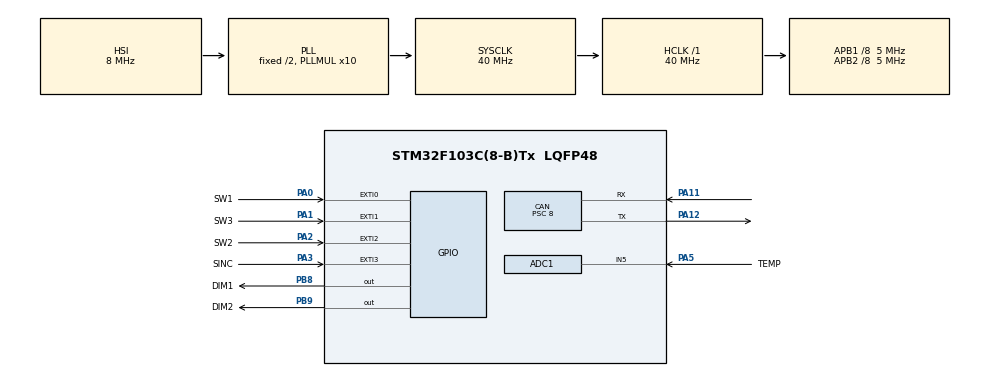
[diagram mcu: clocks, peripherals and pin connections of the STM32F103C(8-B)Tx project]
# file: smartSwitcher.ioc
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ADC1.Channel-0\#ChannelRegularConversion=ADC_CHANNEL_5
ADC1.Channel-1\#ChannelRegularConversion=ADC_CHANNEL_TEMPSENSOR
ADC1.Channel-2\#ChannelRegularConversion=ADC_CHANNEL_VREFINT
ADC1.Channel-IN=ADC_CHANNEL_VREFINT
ADC1.ContinuousConvMode=ENABLE
ADC1.DataAlign=ADC_DATAALIGN_RIGHT
ADC1.DiscontinuousConvMode=DISABLE
ADC1.EnableAnalogWatchDog=false
ADC1.ExternalTrigConv=ADC_SOFTWARE_START
ADC1.NbrOfConversion=3
ADC1.NbrOfConversionFlag=1
ADC1.Rank-1\#ChannelRegularConversion=2
ADC1.Rank-2\#ChannelRegularConversion=3
ADC1.SamplingTime-0\#ChannelRegularConversion=ADC_SAMPLETIME_239CYCLES_5
ADC1.SamplingTime-1\#ChannelRegularConversion=ADC_SAMPLETIME_239CYCLES_5
ADC1.SamplingTime-2\#ChannelRegularConversion=ADC_SAMPLETIME_239CYCLES_5
ADC1.master=1
CAN.ABOM=ENABLE
CAN.AWUM=DISABLE
CAN.BS1=CAN_BS1_3TQ
CAN.CalculateBaudRate=125000
CAN.CalculateTimeBit=8000
CAN.CalculateTimeQuantum=1600.0
CAN.Mode=CAN_MODE_NORMAL
CAN.NART=ENABLE
CAN.Prescaler=8
CAN.RFLM=DISABLE
CAN.SJW=CAN_SJW_1TQ
CAN.TTCM=DISABLE
CAN.TXFP=DISABLE
Dma.ADC1.0.Direction=DMA_PERIPH_TO_MEMORY
Dma.ADC1.0.Instance=DMA1_Channel1
Dma.ADC1.0.MemDataAlignment=DMA_MDATAALIGN_HALFWORD
Dma.ADC1.0.MemInc=DMA_MINC_ENABLE
Dma.ADC1.0.Mode=DMA_CIRCULAR
Dma.ADC1.0.PeriphDataAlignment=DMA_PDATAALIGN_HALFWORD
Dma.ADC1.0.PeriphInc=DMA_PINC_DISABLE
Dma.ADC1.0.Priority=DMA_PRIORITY_LOW
Dma.Request0=ADC1
Mcu.Family=STM32F1
Mcu.Name=STM32F103C(8-B)Tx
Mcu.Package=LQFP48
NVIC.ADC1_2_IRQn=true\:2\:0\:true\:false\:true\:true\:true\:true
NVIC.CAN1_RX1_IRQn=true\:0\:0\:false\:false\:true\:true\:true\:true
NVIC.DMA1_Channel1_IRQn=true\:2\:0\:true\:false\:true\:false\:true\:true
NVIC.PriorityGroup=NVIC_PRIORITYGROUP_4
NVIC.TIM1_BRK_IRQn=true\:0\:0\:false\:false\:true\:true\:true\:true
NVIC.TIM2_IRQn=true\:2\:0\:true\:false\:true\:true\:true\:true
NVIC.TIM3_IRQn=true\:1\:0\:true\:false\:true\:true\:true\:true
NVIC.TIM4_IRQn=true\:1\:0\:true\:false\:true\:true\:true\:true
PA0-WKUP.GPIO_Label=SW1
PA0-WKUP.GPIO_ModeDefaultEXTI=GPIO_MODE_IT_RISING_FALLING
PA0-WKUP.GPIO_PuPd=GPIO_PULLUP
PA0-WKUP.Signal=GPXTI0
PA1.GPIO_Label=SW3
PA1.GPIO_ModeDefaultEXTI=GPIO_MODE_IT_RISING_FALLING
PA1.GPIO_PuPd=GPIO_PULLUP
PA1.Signal=GPXTI1
PA11.Mode=CAN_Activate
PA11.Signal=CAN_RX
PA12.Mode=CAN_Activate
PA12.Signal=CAN_TX
PA13.Mode=Serial_Wire
PA13.Signal=SYS_JTMS-SWDIO
PA14.Mode=Serial_Wire
PA14.Signal=SYS_JTCK-SWCLK
PA2.GPIO_Label=SW2
PA2.GPIO_ModeDefaultEXTI=GPIO_MODE_IT_RISING_FALLING
PA2.GPIO_PuPd=GPIO_PULLUP
PA2.Signal=GPXTI2
PA3.GPIO_Label=SINC
PA3.Signal=GPXTI3
PA5.GPIO_Label=TEMP
PA5.Signal=ADCx_IN5
PB8.GPIO_Label=DIM1
PB8.GPIO_PuPd=GPIO_NOPULL
PB8.GPIO_Speed=GPIO_SPEED_FREQ_HIGH
PB8.PinState=GPIO_PIN_SET
PB8.Signal=GPIO_Output
PB9.GPIO_Label=DIM2
PB9.GPIO_Speed=GPIO_SPEED_FREQ_HIGH
PB9.PinState=GPIO_PIN_SET
PB9.Signal=GPIO_Output
PD0-OSC_IN.Mode=HSE-External-Oscillator
PD0-OSC_IN.Signal=RCC_OSC_IN
PD1-OSC_OUT.Mode=HSE-External-Oscillator
PD1-OSC_OUT.Signal=RCC_OSC_OUT
ProjectManager.HeapSize=0x200
ProjectManager.StackSize=0x400
ProjectManager.TargetToolchain=CMake
RCC.ADCPresc=RCC_ADCPCLK2_DIV4
RCC.AHBFreq_Value=40000000
RCC.APB1CLKDivider=RCC_HCLK_DIV8
RCC.APB1Freq_Value=5000000
RCC.APB1TimFreq_Value=10000000
RCC.APB2CLKDivider=RCC_HCLK_DIV8
RCC.APB2Freq_Value=5000000
RCC.APB2TimFreq_Value=10000000
RCC.DATA_CACHE_ENABLE=0
RCC.FLatency=FLASH_LATENCY_1
RCC.HCLKFreq_Value=40000000
RCC.INSTRUCTION_CACHE_ENABLE=0
RCC.PLLMUL=RCC_PLL_MUL10
RCC.SYSCLKFreq_VALUE=40000000
RCC.SYSCLKSource=RCC_SYSCLKSOURCE_PLLCLK
RCC.USBFreq_Value=40000000
SH.ADCx_IN5.0=ADC1_IN5,IN5
SH.ADCx_IN5.1=ADC2_IN5
TIM1.Period=39
TIM1.Prescaler=9
TIM2.AutoReloadPreload=TIM_AUTORELOAD_PRELOAD_DISABLE
TIM2.CounterMode=TIM_COUNTERMODE_UP
TIM2.Period=999
TIM2.Prescaler=9999
TIM2.TIM_MasterOutputTrigger=TIM_TRGO_RESET
TIM3.AutoReloadPreload=TIM_AUTORELOAD_PRELOAD_DISABLE
TIM3.ClockDivision=TIM_CLOCKDIVISION_DIV1
TIM3.CounterMode=TIM_COUNTERMODE_UP
TIM3.Period=999
TIM3.Prescaler=9999
TIM4.Period=3000
TIM4.Prescaler=9999
VP_ADC1_TempSens_Input.Mode=IN-TempSens
VP_ADC1_Vref_Input.Mode=IN-Vrefint
VP_TIM1_VS_ClockSourceINT.Mode=Internal
VP_TIM2_VS_ClockSourceINT.Mode=Internal
VP_TIM3_VS_ClockSourceINT.Mode=Internal
VP_TIM4_VS_ClockSourceINT.Mode=Internal
board=custom

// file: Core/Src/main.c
/* USER CODE BEGIN Header */
/**
  ******************************************************************************
  * @file           : main.c
  * @brief          : Main program body
  ******************************************************************************
  * @attention
  *
  * Copyright (c) 2025 STMicroelectronics.
  * All rights reserved.
  *
  * This software is licensed under terms that can be found in the LICENSE file
  * in the root directory of this software component.
  * If no LICENSE file comes with this software, it is provided AS-IS.
  *
  ******************************************************************************
  */
/* USER CODE END Header */
#include "main.h"
#include "adc.h"
#include "can.h"
#include "dma.h"
#include "tim.h"
#include "gpio.h"

/* USER CODE BEGIN Includes */
#include "stm32f1xx_hal.h"
#include "stm32f1xx_ll_adc.h"
#include "flash_storage.h"
#include "string.h"
/* USER CODE END Includes */

/* USER CODE BEGIN PV */

uint16_t tic = 0;
const uint16_t dimPins[] = {DIM1_Pin, DIM2_Pin};
board_t Brd;
telemetry_t BrdTel;
dimmer_t dm[2] = {
    {MAX_DIM, 10, 10,MIN_DIM, MAX_DIM}, // Диммер 1
    {MAX_DIM, 10, 10,MIN_DIM, MAX_DIM}  // Диммер 2
};
/* USER CODE END PV */

void SystemClock_Config(void);
/* USER CODE BEGIN PFP */

//-------------прерывания по изменения яркости -----------------------
void LightControlDM1() {
    if (dm[CH_DIM_1].dimmer < MIN_DIM) {
        dm[CH_DIM_1].dimmer ++;
        if (dm[CH_DIM_1].dimmer >= MIN_DIM) {
            dm[CH_DIM_1].dimmer = MIN_DIM;
            HAL_TIM_Base_Stop_IT(&htim2);
        }
    } else if (dm[CH_DIM_1].dimmer > MAX_DIM) {
        dm[CH_DIM_1].dimmer --;
        if (dm[CH_DIM_1].dimmer <= MAX_DIM) {
            dm[CH_DIM_1].dimmer = MAX_DIM;
            HAL_TIM_Base_Stop_IT(&htim2);
        }
    }
}

void LightControlDM2() {
    if (dm[CH_DIM_2].dimmer < MIN_DIM) {
        dm[CH_DIM_2].dimmer ++;
        if (dm[CH_DIM_2].dimmer >= MIN_DIM) {
            dm[CH_DIM_2].dimmer = MIN_DIM;
            HAL_TIM_Base_Stop_IT(&htim3);
        }
    } else if (dm[CH_DIM_2].dimmer > MAX_DIM) {
        dm[CH_DIM_2].dimmer --;
        if (dm[CH_DIM_2].dimmer <= MAX_DIM) {
            dm[CH_DIM_2].dimmer = MAX_DIM;
            HAL_TIM_Base_Stop_IT(&htim3);
        }
    }
}

//-------------прерывания по кнопкам----------------
void INT_SW1(){
    BrdTel.sw1 = HAL_GPIO_ReadPin(SW1_GPIO_Port, SW1_Pin);
}
void INT_SW2(){
    BrdTel.sw2 = HAL_GPIO_ReadPin(SW2_GPIO_Port, SW2_Pin);
}
void INT_SW3(){
    BrdTel.sw3 = HAL_GPIO_ReadPin(SW3_GPIO_Port, SW3_Pin);
}

//------------отправка температуры по CAN--------
void sendTempToCAN(){
  BrdTel.temp = (int16_t)(readTemperatureLM335(Adc.FadcChanal) * 10);
  uint8_t tempData[2];
  tempData[0] = (uint8_t)(BrdTel.temp & 0xFF); // Младший байт
  tempData[1] = (uint8_t)(BrdTel.temp >> 8); // Старший байт

  AddMessageToQueue(Sh_Id(CAN_ID_TEMP), tempData, 2, SEND_ONLY);
}
/* USER CODE END PFP */

int main(void)
{

  /* MCU Configuration--------------------------------------------------------*/

  /* Reset of all peripherals, Initializes the Flash interface and the Systick. */
  HAL_Init();

  /* Configure the system clock */
  SystemClock_Config();

  /* Initialize all configured peripherals */
  MX_GPIO_Init();
  MX_DMA_Init();
  MX_CAN_Init();
  MX_TIM2_Init();
  MX_ADC1_Init();
  MX_TIM1_Init();
  MX_TIM3_Init();
  MX_TIM4_Init();
  /* USER CODE BEGIN 2 */
  HAL_ADC_Start_DMA(&hadc1, (uint32_t*)Adc.adcChanal, CHANALS_ADC);
  HAL_CAN_Start(&hcan);
  HAL_TIM_IC_Start_IT(&htim2, TIM_CHANNEL_4);
  HAL_TIM_Base_Start_IT(&htim1); // таймер на детектора нуля
  HAL_TIM_Base_Start_IT(&htim4); // таймер на 30 сек для отправки температуры

  //----Считываем с флеш памяти адрес платы если там нет значение или = 255 то адресс 0
  Flash_ReadData(&Brd, sizeof(Brd));
  if (Brd.Adres == 0xFF) {
      Brd.Adres = 0;
      Flash_WriteData(&Brd, sizeof(Brd));
  }
  /* USER CODE END 2 */

  /* Infinite loop */
  /* USER CODE BEGIN WHILE */
  while (1)
  {
     ProcessCANQueue();
    /* USER CODE END WHILE */

  }
}

void SystemClock_Config(void)
{
  RCC_OscInitTypeDef RCC_OscInitStruct = {0};
  RCC_ClkInitTypeDef RCC_ClkInitStruct = {0};
  RCC_PeriphCLKInitTypeDef PeriphClkInit = {0};

  /** Initializes the RCC Oscillators according to the specified parameters
  * in the RCC_OscInitTypeDef structure.
  */
  RCC_OscInitStruct.OscillatorType = RCC_OSCILLATORTYPE_HSI;
  RCC_OscInitStruct.HSIState = RCC_HSI_ON;
  RCC_OscInitStruct.HSICalibrationValue = RCC_HSICALIBRATION_DEFAULT;
  RCC_OscInitStruct.PLL.PLLState = RCC_PLL_ON;
  RCC_OscInitStruct.PLL.PLLSource = RCC_PLLSOURCE_HSI_DIV2;
  RCC_OscInitStruct.PLL.PLLMUL = RCC_PLL_MUL10;
  if (HAL_RCC_OscConfig(&RCC_OscInitStruct) != HAL_OK)
  {
    Error_Handler();
  }

  /** Initializes the CPU, AHB and APB buses clocks
  */
  RCC_ClkInitStruct.ClockType = RCC_CLOCKTYPE_HCLK|RCC_CLOCKTYPE_SYSCLK
                              |RCC_CLOCKTYPE_PCLK1|RCC_CLOCKTYPE_PCLK2;
  RCC_ClkInitStruct.SYSCLKSource = RCC_SYSCLKSOURCE_PLLCLK;
  RCC_ClkInitStruct.AHBCLKDivider = RCC_SYSCLK_DIV1;
  RCC_ClkInitStruct.APB1CLKDivider = RCC_HCLK_DIV8;
  RCC_ClkInitStruct.APB2CLKDivider = RCC_HCLK_DIV8;

  if (HAL_RCC_ClockConfig(&RCC_ClkInitStruct, FLASH_LATENCY_1) != HAL_OK)
  {
    Error_Handler();
  }
  PeriphClkInit.PeriphClockSelection = RCC_PERIPHCLK_ADC;
  PeriphClkInit.AdcClockSelection = RCC_ADCPCLK2_DIV4;
  if (HAL_RCCEx_PeriphCLKConfig(&PeriphClkInit) != HAL_OK)
  {
    Error_Handler();
  }
}

/* USER CODE BEGIN 4 */
void lightEn(uint8_t ch, uint8_t en) {

   if (en == 0) { // выключить
      dm[ch].dimmer = MAX_DIM;
   } else if (en == 1) { // включить
      dm[ch].dimmer = MIN_DIM;
   } else if (en == 2) { // плавное увеличение
      //-------включение таймера для плавного увеличения
      if(ch == CH_DIM_1) {
         SetTimeTimer_Dim1(dm[ch].timeOn);
         HAL_TIM_Base_Start_IT(&htim2);
      }
      if(ch == CH_DIM_2){
         SetTimeTimer_Dim2(dm[ch].timeOn);
         HAL_TIM_Base_Start_IT(&htim3);
      }

   } else if (en == 3) { // плавное уменьшение
      //-------включение таймера для плавного уменьшения
     if(ch == CH_DIM_1) {
         SetTimeTimer_Dim1(dm[ch].timeOff);
         HAL_TIM_Base_Start_IT(&htim2);
      }
      if(ch == CH_DIM_2){
         SetTimeTimer_Dim2(dm[ch].timeOff);
         HAL_TIM_Base_Start_IT(&htim3);
      }
   }
}

void lightSet(uint8_t ch, uint8_t value, uint8_t time, uint8_t startValue){
   if (value < MIN_DIM) value = MIN_DIM;
   if (value > MAX_DIM) value = MAX_DIM;
   dm[ch].dimmer = value;
   dm[ch].timeOn = time;
   dm[ch].startValue = startValue;
}

long map(long x, long in_min, long in_max, long out_min, long out_max)
{
  return (x - in_min) * (out_max - out_min) / (in_max - in_min) + out_min;
}

/* USER CODE END 4 */

void Error_Handler(void)
{
  __disable_irq();
  while (1)
  {
  }
}
